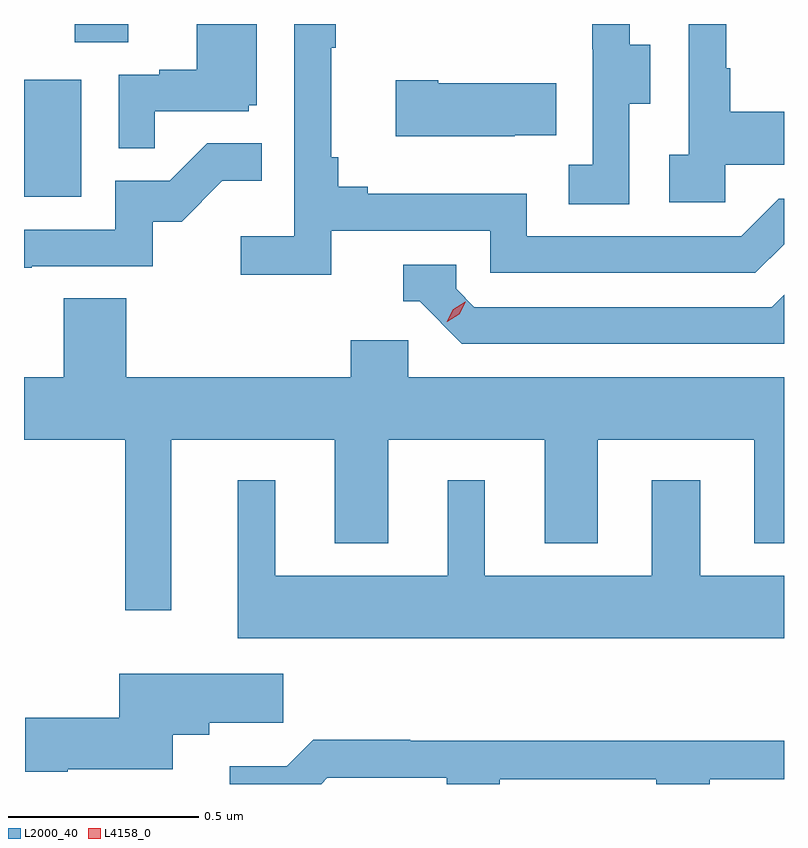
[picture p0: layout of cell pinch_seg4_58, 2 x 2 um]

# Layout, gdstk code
import gdstk
lib = gdstk.Library(unit=1e-6, precision=1e-09)
def R(c, l, rs):  # rectangles x0, y0, x1, y1
    for r in rs: c.add(gdstk.rectangle(r[:2], r[2:], *l))
def P(c, l, *ps):  # polygons
    for p in ps: c.add(gdstk.Polygon(p, *l))
L2000_40 = (2000, 40)
L4158_0 = (4158, 0)

pinch_seg4_58 = lib.new_cell('pinch_seg4_58')
R(pinch_seg4_58, L2000_40, [(1045.785,821.436,1045.936,821.743), (1045.919,821.842,1046.059,821.89), (1046.944,821.889,1047.091,821.89)])
P(pinch_seg4_58, L2000_40, [(1047.378,821.68),(1047.433,821.68),(1047.433,821.835),(1047.379,821.835),(1047.379,821.89),(1047.281,821.89),(1047.281,821.823),(1047.282,821.823),(1047.282,821.519),(1047.219,821.519),(1047.219,821.416),(1047.378,821.416)],
  [(1046.129,821.661),(1046.376,821.661),(1046.376,821.676),(1046.398,821.676),(1046.398,821.89),(1046.24,821.89),(1046.24,821.77),(1046.141,821.77),(1046.141,821.757),(1046.034,821.757),(1046.034,821.563),(1046.129,821.563)],
  [(1047.63,821.519),(1047.785,821.519),(1047.785,821.659),(1047.643,821.659),(1047.643,821.774),(1047.633,821.774),(1047.633,821.89),(1047.534,821.89),(1047.534,821.546),(1047.483,821.546),(1047.483,821.421),(1047.63,821.421)],
  [(1046.594,821.346),(1047.012,821.346),(1047.012,821.235),(1047.709,821.235),(1047.785,821.311),(1047.785,821.43),(1047.771,821.43),(1047.672,821.331),(1047.108,821.331),(1047.108,821.443),(1046.689,821.443),(1046.689,821.462),(1046.612,821.462),(1046.612,821.539),(1046.593,821.539),(1046.593,821.827),(1046.605,821.827),(1046.605,821.89),(1046.496,821.89),(1046.496,821.332),(1046.355,821.332),(1046.355,821.23),(1046.594,821.23)],
  [(1047.077,821.597),(1047.185,821.597),(1047.185,821.734),(1046.875,821.734),(1046.875,821.742),(1046.763,821.742),(1046.763,821.594),(1047.077,821.594)],
  [(1045.805,821.253),(1046.124,821.253),(1046.124,821.37),(1046.2,821.37),(1046.307,821.477),(1046.411,821.477),(1046.411,821.576),(1046.267,821.576),(1046.169,821.478),(1046.025,821.478),(1046.025,821.349),(1045.785,821.349),(1045.785,821.248),(1045.805,821.248)],
  [(1047.785,821.177),(1047.753,821.145),(1046.97,821.145),(1046.922,821.193),(1046.922,821.256),(1046.783,821.256),(1046.783,821.16),(1046.826,821.16),(1046.937,821.049),(1047.785,821.049)],
  [(1045.889,820.96),(1045.785,820.96),(1045.785,820.796),(1046.052,820.796),(1046.052,820.347),(1046.173,820.347),(1046.173,820.796),(1046.603,820.796),(1046.603,820.523),(1046.743,820.523),(1046.743,820.796),(1047.155,820.796),(1047.155,820.523),(1047.295,820.523),(1047.295,820.796),(1047.707,820.796),(1047.707,820.523),(1047.785,820.523),(1047.785,820.96),(1046.796,820.96),(1046.796,821.058),(1046.645,821.058),(1046.645,820.96),(1046.054,820.96),(1046.054,821.168),(1045.889,821.168)],
  [(1047.785,820.438),(1047.565,820.438),(1047.565,820.69),(1047.437,820.69),(1047.437,820.438),(1046.998,820.438),(1046.998,820.69),(1046.9,820.69),(1046.9,820.438),(1046.446,820.438),(1046.446,820.69),(1046.348,820.69),(1046.348,820.274),(1047.785,820.274)],
  [(1045.9,819.929),(1046.176,819.929),(1046.176,820.019),(1046.272,820.019),(1046.272,820.051),(1046.467,820.051),(1046.467,820.18),(1046.036,820.18),(1046.036,820.064),(1045.788,820.064),(1045.788,819.922),(1045.9,819.922)],
  [(1046.583,819.906),(1046.897,819.906),(1046.897,819.89),(1047.037,819.89),(1047.037,819.903),(1047.449,819.903),(1047.449,819.89),(1047.589,819.89),(1047.589,819.903),(1047.785,819.903),(1047.785,820.004),(1046.801,820.004),(1046.801,820.007),(1046.546,820.007),(1046.476,819.937),(1046.327,819.937),(1046.327,819.89),(1046.567,819.89)])
P(pinch_seg4_58, L4158_0, [(1046.898,821.107),(1046.898,821.107),(1046.915,821.14),(1046.946,821.159),(1046.947,821.159),(1046.947,821.159),(1046.93,821.126),(1046.899,821.107)])

lib.write_gds('pinch_seg4_58.gds')
